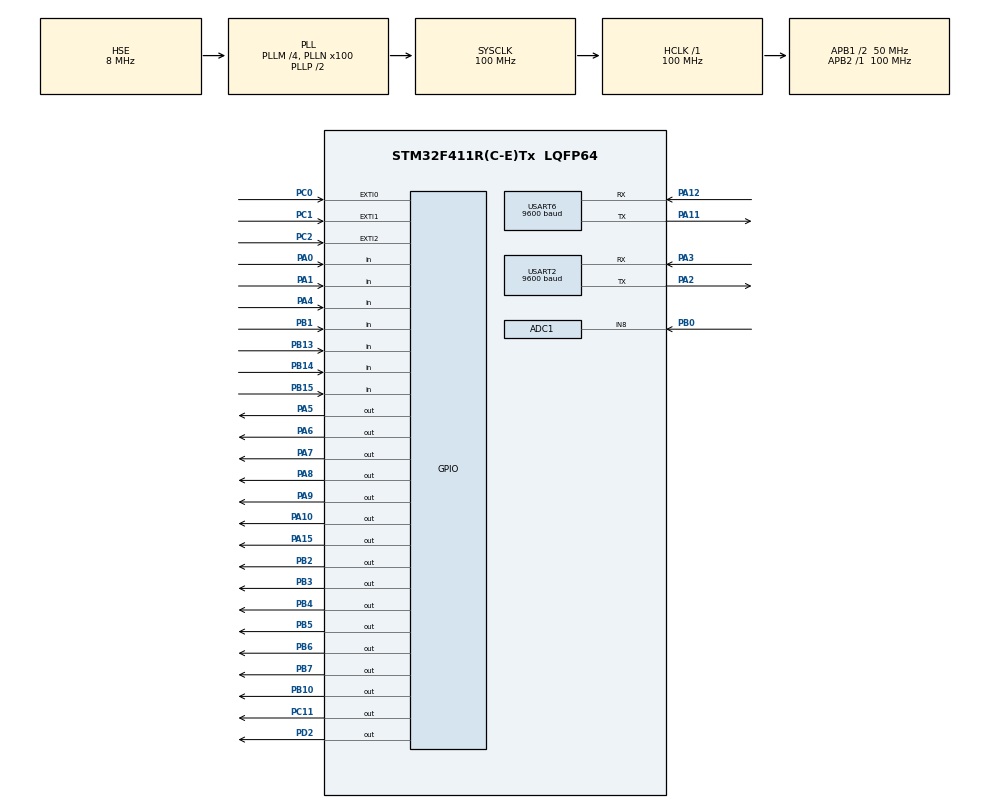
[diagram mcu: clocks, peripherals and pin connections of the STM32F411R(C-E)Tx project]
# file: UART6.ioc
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ADC1.Channel-0\#ChannelRegularConversion=ADC_CHANNEL_8
ADC1.NbrOfConversionFlag=1
ADC1.Rank-0\#ChannelRegularConversion=1
ADC1.SamplingTime-0\#ChannelRegularConversion=ADC_SAMPLETIME_3CYCLES
ADC1.master=1
Mcu.Family=STM32F4
Mcu.Name=STM32F411R(C-E)Tx
Mcu.Package=LQFP64
NVIC.EXTI0_IRQn=true\:0\:0\:false\:false\:true\:true\:true\:true
NVIC.EXTI1_IRQn=true\:0\:0\:false\:false\:true\:true\:true\:true
NVIC.EXTI2_IRQn=true\:0\:0\:false\:false\:true\:true\:true\:true
NVIC.PriorityGroup=NVIC_PRIORITYGROUP_4
NVIC.USART2_IRQn=true\:0\:0\:false\:false\:true\:true\:true\:true
NVIC.USART6_IRQn=true\:0\:0\:false\:false\:true\:true\:true\:true
PA0-WKUP.Signal=GPIO_Input
PA1.Signal=GPIO_Input
PA10.Signal=GPIO_Output
PA11.Mode=Asynchronous
PA11.Signal=USART6_TX
PA12.Mode=Asynchronous
PA12.Signal=USART6_RX
PA13.Mode=Serial_Wire
PA13.Signal=SYS_JTMS-SWDIO
PA14.Mode=Serial_Wire
PA14.Signal=SYS_JTCK-SWCLK
PA15.Signal=GPIO_Output
PA2.Mode=Asynchronous
PA2.Signal=USART2_TX
PA3.Mode=Asynchronous
PA3.Signal=USART2_RX
PA4.Signal=GPIO_Input
PA5.Signal=GPIO_Output
PA6.Signal=GPIO_Output
PA7.Signal=GPIO_Output
PA8.Signal=GPIO_Output
PA9.Signal=GPIO_Output
PB0.Signal=ADCx_IN8
PB1.Signal=GPIO_Input
PB10.Signal=GPIO_Output
PB13.Signal=GPIO_Input
PB14.Signal=GPIO_Input
PB15.Signal=GPIO_Input
PB2.Signal=GPIO_Output
PB3.Signal=GPIO_Output
PB4.Signal=GPIO_Output
PB5.Signal=GPIO_Output
PB6.Signal=GPIO_Output
PB7.Signal=GPIO_Output
PC0.GPIO_ModeDefaultEXTI=GPIO_MODE_IT_RISING_FALLING
PC0.Signal=GPXTI0
PC1.GPIO_ModeDefaultEXTI=GPIO_MODE_IT_RISING_FALLING
PC1.Signal=GPXTI1
PC11.Signal=GPIO_Output
PC2.GPIO_ModeDefaultEXTI=GPIO_MODE_IT_RISING_FALLING
PC2.Signal=GPXTI2
PD2.Signal=GPIO_Output
PH0\ -\ OSC_IN.Mode=HSE-External-Oscillator
PH0\ -\ OSC_IN.Signal=RCC_OSC_IN
PH1\ -\ OSC_OUT.Mode=HSE-External-Oscillator
PH1\ -\ OSC_OUT.Signal=RCC_OSC_OUT
ProjectManager.HeapSize=0x200
ProjectManager.StackSize=0x400
ProjectManager.TargetToolchain=STM32CubeIDE
RCC.48MHZClocksFreq_Value=50000000
RCC.AHBFreq_Value=100000000
RCC.APB1CLKDivider=RCC_HCLK_DIV2
RCC.APB1Freq_Value=50000000
RCC.APB1TimFreq_Value=100000000
RCC.APB2Freq_Value=100000000
RCC.APB2TimFreq_Value=100000000
RCC.CortexFreq_Value=100000000
RCC.HCLKFreq_Value=100000000
RCC.HSE_VALUE=8000000
RCC.HSI_VALUE=16000000
RCC.LSE_VALUE=32768
RCC.PLLM=4
RCC.PLLN=100
RCC.PLLSourceVirtual=RCC_PLLSOURCE_HSE
RCC.SYSCLKFreq_VALUE=100000000
RCC.SYSCLKSource=RCC_SYSCLKSOURCE_PLLCLK
RCC.VCOOutputFreq_Value=200000000
SH.ADCx_IN8.0=ADC1_IN8,IN8
USART2.BaudRate=9600
USART2.VirtualMode=VM_ASYNC
USART6.BaudRate=9600
USART6.VirtualMode=VM_ASYNC
board=custom

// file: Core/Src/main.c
/* USER CODE BEGIN Header */
/**
  ******************************************************************************
  * @file           : main.c
  * @brief          : Main program body
  ******************************************************************************
  * @attention
  *
  * Copyright (c) 2025 STMicroelectronics.
  * All rights reserved.
  *
  * This software is licensed under terms that can be found in the LICENSE file
  * in the root directory of this software component.
  * If no LICENSE file comes with this software, it is provided AS-IS.
  *
  ******************************************************************************
  */
/* USER CODE END Header */
#include "main.h"
#include "adc.h"
#include "usart.h"
#include "gpio.h"

/* USER CODE BEGIN Includes */

#include "usart.h"
#include "stdio.h"
#include "photosensor.h"
#include "elevator.h"

/* USER CODE END Includes */

/* USER CODE BEGIN PV */

uint8_t rxData6;
uint8_t rxData2;

/* USER CODE END PV */

void SystemClock_Config(void);
/* USER CODE BEGIN PFP */

void HAL_GPIO_EXTI_Callback(uint16_t GPIO_Pin)
{
  ps_on_exti(GPIO_Pin);  // ← 모듈로 전달 (논블로킹)
}

void HAL_UART_RxCpltCallback(UART_HandleTypeDef *huart)
{
	if(huart->Instance == USART2)
	{
	HAL_UART_Receive_IT(&huart2, &rxData2, sizeof(rxData2));
	HAL_UART_Transmit_IT(&huart6, &rxData2, sizeof(rxData2));
//	HAL_UART_Transmit(&huart1, &rxData2, sizeof(rxData2), HAL_MAX_DELAY );
	}

	else if(huart->Instance == USART6)
		{
		HAL_UART_Receive_IT(&huart6, &rxData6, sizeof(rxData6));
		HAL_UART_Transmit_IT(&huart2, &rxData6, sizeof(rxData6));
//		 HAL_UART_Transmit(&huart2, &rxData1, sizeof(rxData1), HAL_MAX_DELAY);
		}

}

/* USER CODE END PFP */

/* USER CODE BEGIN 0 */
int _write(int file, char *p, int len)
{
    HAL_UART_Transmit(&huart2, (uint8_t *)p, len, HAL_MAX_DELAY);
    return len;
}

/* USER CODE END 0 */

int main(void)
{

  /* MCU Configuration--------------------------------------------------------*/

  /* Reset of all peripherals, Initializes the Flash interface and the Systick. */
  HAL_Init();

  /* Configure the system clock */
  SystemClock_Config();

  /* Initialize all configured peripherals */
  MX_GPIO_Init();
  MX_USART2_UART_Init();
  MX_USART6_UART_Init();
  MX_ADC1_Init();
  /* USER CODE BEGIN 2 */

  HAL_UART_Receive_IT(&huart6, &rxData6, 1);
  HAL_UART_Receive_IT(&huart2, &rxData2, 1);

  printf("UART TEST OK\r\n");

  elevator_init();

  /* USER CODE END 2 */

  /* Infinite loop */
  /* USER CODE BEGIN WHILE */

  while (1)
  {
  	elevator_loop();

  	 if (rxData6 >= '0' && rxData6 <= '9')
  		     {
  			     uint8_t num = rxData6 -'0';

  			     switch (num)
  			          {
  			              case 1:  handleExternalButtonCall(0, BUTTON_CALL_UP);

  			                  break;

  			              case 2:   handleExternalButtonCall(1, BUTTON_CALL_DOWN);

  			                  break;

  			              case 3:  handleExternalButtonCall(2, BUTTON_CALL_DOWN);

  			                  break;

  			              default:
  			                  // 다른 숫자는 아무 동작 안함
  			                  break;
  			          }

  			          rxData6 = 0; // 처리 완료 후 초기화 (중복 실행 방지)

  		     }

    /* USER CODE END WHILE */

  }
}

void SystemClock_Config(void)
{
  RCC_OscInitTypeDef RCC_OscInitStruct = {0};
  RCC_ClkInitTypeDef RCC_ClkInitStruct = {0};

  /** Configure the main internal regulator output voltage
  */
  __HAL_RCC_PWR_CLK_ENABLE();
  __HAL_PWR_VOLTAGESCALING_CONFIG(PWR_REGULATOR_VOLTAGE_SCALE1);

  /** Initializes the RCC Oscillators according to the specified parameters
  * in the RCC_OscInitTypeDef structure.
  */
  RCC_OscInitStruct.OscillatorType = RCC_OSCILLATORTYPE_HSE;
  RCC_OscInitStruct.HSEState = RCC_HSE_ON;
  RCC_OscInitStruct.PLL.PLLState = RCC_PLL_ON;
  RCC_OscInitStruct.PLL.PLLSource = RCC_PLLSOURCE_HSE;
  RCC_OscInitStruct.PLL.PLLM = 4;
  RCC_OscInitStruct.PLL.PLLN = 100;
  RCC_OscInitStruct.PLL.PLLP = RCC_PLLP_DIV2;
  RCC_OscInitStruct.PLL.PLLQ = 4;
  if (HAL_RCC_OscConfig(&RCC_OscInitStruct) != HAL_OK)
  {
    Error_Handler();
  }

  /** Initializes the CPU, AHB and APB buses clocks
  */
  RCC_ClkInitStruct.ClockType = RCC_CLOCKTYPE_HCLK|RCC_CLOCKTYPE_SYSCLK
                              |RCC_CLOCKTYPE_PCLK1|RCC_CLOCKTYPE_PCLK2;
  RCC_ClkInitStruct.SYSCLKSource = RCC_SYSCLKSOURCE_PLLCLK;
  RCC_ClkInitStruct.AHBCLKDivider = RCC_SYSCLK_DIV1;
  RCC_ClkInitStruct.APB1CLKDivider = RCC_HCLK_DIV2;
  RCC_ClkInitStruct.APB2CLKDivider = RCC_HCLK_DIV1;

  if (HAL_RCC_ClockConfig(&RCC_ClkInitStruct, FLASH_LATENCY_3) != HAL_OK)
  {
    Error_Handler();
  }
}

void Error_Handler(void)
{
  __disable_irq();
  while (1)
  {
  }
}
